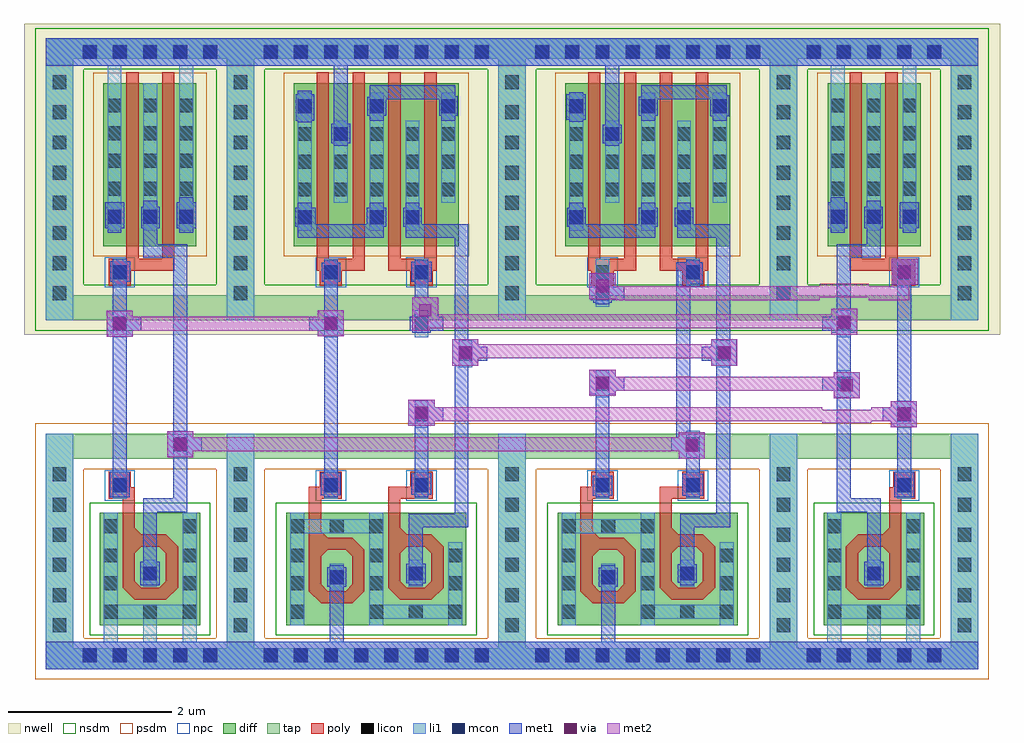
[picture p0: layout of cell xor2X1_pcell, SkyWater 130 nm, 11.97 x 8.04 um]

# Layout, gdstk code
from math import pi, radians
import gdstk
lib = gdstk.Library(unit=1e-6, precision=1e-09)
def R(c, l, rs):  # rectangles x0, y0, x1, y1
    for r in rs: c.add(gdstk.rectangle(r[:2], r[2:], *l))
def A(c, l, x, y, w, h, nx, ny, dx, dy):  # array of equal rectangles
    R(c, l, [(x+i*dx, y+j*dy, x+i*dx+w, y+j*dy+h) for i in range(nx) for j in range(ny)])
def P(c, l, *ps):  # polygons
    for p in ps: c.add(gdstk.Polygon(p, *l))
nwell = (64, 20)
diff = (65, 20)
tap = (65, 44)
poly = (66, 20)
licon = (66, 44)
li1 = (67, 20)
mcon = (67, 44)
met1 = (68, 20)
via = (68, 44)
met2 = (69, 20)
nsdm = (93, 44)
psdm = (94, 20)
npc = (95, 20)

diff_ring_side = lib.new_cell('diff_ring_side')
R(diff_ring_side, nwell, [(-0.435,3.93,0.435,7.75)])
R(diff_ring_side, tap, [(-0.17,-0.17,0.17,2.72), (-0.17,4.11,0.17,7.57)])
A(diff_ring_side, licon, -0.085, 0.285, 0.17, 0.17, 1, 6, 0, 0.37)
A(diff_ring_side, licon, -0.085, 4.355, 0.17, 0.17, 1, 8, 0, 0.37)
R(diff_ring_side, li1, [(-0.17,-0.17,0.17,2.72), (-0.17,4.11,0.17,7.57)])
R(diff_ring_side, met1, [(-0.17,-0.17,0.17,0.17), (-0.17,7.23,0.17,7.57)])
R(diff_ring_side, nsdm, [(-0.295,3.985,0.295,7.695)])
R(diff_ring_side, psdm, [(-0.295,-0.295,0.295,2.845)])

poly_li1_contact = lib.new_cell('poly_li1_contact')
R(poly_li1_contact, poly, [(-0.16,-0.14,0.17,0.13)])
R(poly_li1_contact, licon, [(-0.08,-0.09,0.09,0.08)])
R(poly_li1_contact, li1, [(-0.16,-0.09,0.17,0.08)])
R(poly_li1_contact, npc, [(-0.18,-0.19,0.19,0.18)])

pmos2 = lib.new_cell('pmos2')
R(pmos2, nwell, [(0.26,-2.18,1.76,0.18)])
R(pmos2, diff, [(0.44,-2,1.58,0)])
R(pmos2, poly, [(0.72,-2.305,1.31,-2.155), (0.72,-2.155,0.87,0.13), (1.16,-2.155,1.31,0.13)])
A(pmos2, licon, 0.49, -1.38, 0.17, 0.17, 3, 4, 0.44, 0.34)
R(pmos2, li1, [(0.49,-1.465,0.66,0.21), (0.93,-1.465,1.1,0), (1.37,-1.465,1.54,0.21)])
R(pmos2, psdm, [(0.315,-2.125,1.705,0.125)])

nmos_top = lib.new_cell('nmos_top')
R(nmos_top, diff, [(0,0,1.23,1.38)])
R(nmos_top, poly, [(0.42,0.31,0.8,0.46), (0.27,0.46,0.42,0.965), (0.8,0.46,0.95,0.965), (0.42,0.965,0.95,1.115), (0.8,1.115,0.95,1.54)])
P(nmos_top, poly, [(0.72,1.115),(0.8,1.115),(0.8,1.195)],
  [(0.27,0.965),(0.42,0.965),(0.42,1.115)],
  [(0.42,0.885),(0.42,0.965),(0.5,0.965)],
  [(0.72,0.965),(0.8,0.965),(0.8,0.885)],
  [(0.42,0.54),(0.42,0.46),(0.5,0.46)],
  [(0.72,0.46),(0.8,0.46),(0.8,0.54)],
  [(0.27,0.46),(0.42,0.46),(0.42,0.31)],
  [(0.8,0.31),(0.8,0.46),(0.95,0.46)])
R(nmos_top, licon, [(0.04,0.08,0.21,0.25), (0.53,0.08,0.7,0.25), (1.01,0.08,1.18,0.25), (0.04,0.43,0.21,0.6), (1.01,0.43,1.18,0.6), (0.53,0.55,0.7,0.72), (0.04,0.77,0.21,0.94), (1.01,0.77,1.18,0.94), (0.04,1.13,0.21,1.3), (1.01,1.13,1.18,1.3)])
R(nmos_top, li1, [(0.04,0,0.21,0.08), (1.01,0,1.18,0.08), (0.04,0.08,1.18,0.25), (0.04,0.25,0.21,1.38), (1.01,0.25,1.18,1.38), (0.53,0.47,0.7,0.805)])
R(nmos_top, nsdm, [(-0.125,-0.125,1.355,1.505)])

invx1_pcell = lib.new_cell('invx1_pcell')
R(invx1_pcell, nwell, [(-0.435,3.93,2.655,7.75)])
A(invx1_pcell, diff, 0.59, 5.295, 0.17, 0.17, 3, 1, 0.44, 0)
R(invx1_pcell, tap, [(0.17,-0.17,2.05,0.085), (0.17,2.41,2.05,2.72), (0.17,4.11,2.05,4.42), (0.17,7.315,2.05,7.57)])
R(invx1_pcell, poly, [(0.775,1.905,0.925,2.065)])
A(invx1_pcell, licon, 0.285, -0.085, 0.17, 0.17, 5, 2, 0.37, 7.4)
A(invx1_pcell, licon, 0.59, 5.295, 0.17, 0.17, 3, 1, 0.44, 0)
A(invx1_pcell, li1, 0.59, 5.215, 0.17, 0.37, 3, 1, 0.44, 0)
R(invx1_pcell, li1, [(-0.17,-0.17,2.33,0.17), (0.545,0.17,0.715,0.42), (1.025,0.17,1.195,0.45), (1.515,0.17,1.685,0.45), (1.025,0.92,1.195,1.09), (0.655,2,0.825,2.17), (0.655,4.615,0.825,4.785), (-0.17,7.23,2.39,7.57)])
A(invx1_pcell, mcon, 0.285, -0.085, 0.17, 0.17, 5, 2, 0.37, 7.4)
A(invx1_pcell, mcon, 0.59, 5.295, 0.17, 0.17, 3, 1, 0.44, 0)
R(invx1_pcell, mcon, [(1.025,0.92,1.195,1.09), (0.655,2,0.825,2.17), (0.655,4.615,0.825,4.785)])
R(invx1_pcell, met1, [(-0.17,-0.17,2.39,0.17), (0.99,0.86,1.23,1.15), (1.025,1.15,1.195,1.755), (1.025,1.755,1.565,1.925), (1.395,1.925,1.565,4.875), (0.615,1.94,0.865,2.25), (0.655,2.25,0.825,4.58), (0.62,4.58,0.87,4.83), (0.655,4.83,0.825,4.865), (1.03,4.875,1.565,5.045), (1.03,5.045,1.2,5.24), (0.59,5.185,0.76,5.24), (1.47,5.185,1.64,5.24), (0.56,5.24,0.795,5.555), (1,5.24,1.23,5.505), (1.44,5.24,1.675,5.555), (1.03,5.505,1.2,5.575), (1.47,5.555,1.64,5.62), (-0.17,7.23,2.39,7.57)])
R(invx1_pcell, nsdm, [(0.045,3.985,2.175,4.545), (0.045,7.19,2.175,7.695)])
R(invx1_pcell, psdm, [(0.045,-0.295,2.175,0.21), (0.045,2.285,2.175,2.845), (0.465,5.17,1.765,5.59)])
invx1_pcell.add(gdstk.Reference(poly_li1_contact, (0.735,2.08), rotation=pi/2))
invx1_pcell.add(gdstk.Reference(poly_li1_contact, (0.745,4.705), rotation=3*pi/2))
invx1_pcell.add(gdstk.Reference(pmos2, (0.1,7.02)))
invx1_pcell.add(gdstk.Reference(nmos_top, (1.725,0.37), rotation=pi, x_reflection=True))
invx1_pcell.add(gdstk.Reference(diff_ring_side, (0,0)))
invx1_pcell.add(gdstk.Reference(diff_ring_side, (2.22,0)))

li1_m1_contact = lib.new_cell('li1_M1_contact')
R(li1_m1_contact, li1, [(-0.085,-0.165,0.085,0.165)])
R(li1_m1_contact, mcon, [(-0.085,-0.085,0.085,0.085)])
R(li1_m1_contact, met1, [(-0.115,-0.115,0.115,-0.085), (-0.265,-0.085,0.145,0.085), (-0.115,0.085,0.115,0.115)])

pmos2_1 = lib.new_cell('pmos2_1')
R(pmos2_1, nwell, [(0.26,-2.175,1.76,0.185)])
R(pmos2_1, diff, [(0.44,-1.995,1.58,0.005)])
R(pmos2_1, poly, [(0.72,-2.3,1.31,-2.15), (0.72,-2.15,0.87,0.135), (1.16,-2.15,1.31,0.135)])
A(pmos2_1, licon, 0.49, -1.385, 0.17, 0.17, 3, 3, 0.44, 0.34)
A(pmos2_1, li1, 0.49, -1.465, 0.17, 1.01, 3, 1, 0.44, 0)
R(pmos2_1, psdm, [(0.315,-2.12,1.705,0.13)])

nmos_top_trim1 = lib.new_cell('nmos_top_trim1')
R(nmos_top_trim1, diff, [(0,0,1.24,1.38)])
R(nmos_top_trim1, poly, [(0.43,0.31,0.81,0.46), (0.28,0.46,0.43,0.965), (0.81,0.46,0.96,0.965), (0.43,0.965,0.96,1.115), (0.81,1.115,0.96,1.545)])
P(nmos_top_trim1, poly, [(0.73,1.115),(0.81,1.115),(0.81,1.195)],
  [(0.28,0.965),(0.43,0.965),(0.43,1.115)],
  [(0.43,0.885),(0.43,0.965),(0.51,0.965)],
  [(0.73,0.965),(0.81,0.965),(0.81,0.885)],
  [(0.43,0.54),(0.43,0.46),(0.51,0.46)],
  [(0.73,0.46),(0.81,0.46),(0.81,0.54)],
  [(0.28,0.46),(0.43,0.46),(0.43,0.31)],
  [(0.81,0.31),(0.81,0.46),(0.96,0.46)])
A(nmos_top_trim1, licon, 0.05, 0.08, 0.17, 0.17, 3, 1, 0.485, 0)
R(nmos_top_trim1, licon, [(0.05,0.43,0.22,0.6), (1.02,0.43,1.19,0.6), (0.535,0.55,0.705,0.72), (0.05,0.77,0.22,0.94), (1.02,0.77,1.19,0.94), (1.02,1.13,1.19,1.3)])
R(nmos_top_trim1, li1, [(0.05,0,0.22,0.08), (1.02,0,1.19,0.08), (0.05,0.08,1.19,0.25), (0.05,0.25,0.22,1.02), (1.02,0.25,1.19,1.38), (0.535,0.47,0.705,0.805)])
R(nmos_top_trim1, nsdm, [(-0.125,-0.125,1.365,1.505)])

nmos_bottom = lib.new_cell('nmos_bottom')
R(nmos_bottom, diff, [(0,0,1.24,1.38)])
R(nmos_bottom, poly, [(0.43,0.27,0.81,0.42), (0.28,0.42,0.43,0.925), (0.81,0.42,0.96,0.925), (0.43,0.925,0.96,1.075), (0.81,1.075,0.96,1.51)])
P(nmos_bottom, poly, [(0.73,1.075),(0.81,1.075),(0.81,1.155)],
  [(0.28,0.925),(0.43,0.925),(0.43,1.075)],
  [(0.43,0.845),(0.43,0.925),(0.51,0.925)],
  [(0.73,0.925),(0.81,0.925),(0.81,0.845)],
  [(0.43,0.5),(0.43,0.42),(0.51,0.42)],
  [(0.73,0.42),(0.81,0.42),(0.81,0.5)],
  [(0.28,0.42),(0.43,0.42),(0.43,0.27)],
  [(0.81,0.27),(0.81,0.42),(0.96,0.42)])
A(nmos_bottom, licon, 0.05, 1.13, 0.17, 0.17, 3, 1, 0.485, 0)
R(nmos_bottom, licon, [(0.05,0.08,0.22,0.25), (1.02,0.08,1.19,0.25), (0.05,0.43,0.22,0.6), (1.02,0.43,1.19,0.6), (0.535,0.505,0.705,0.675), (0.05,0.77,0.22,0.94), (1.02,0.77,1.19,0.94)])
R(nmos_bottom, li1, [(0.05,0,0.22,1.13), (1.02,0,1.19,1.13), (0.535,0.425,0.705,0.755), (0.05,1.13,1.19,1.3), (0.05,1.3,0.22,1.38), (1.02,1.3,1.19,1.38)])
R(nmos_bottom, nsdm, [(-0.125,-0.125,1.365,1.505)])

xor2x1_pcell = lib.new_cell('xor2X1_pcell')
R(xor2x1_pcell, nwell, [(2.655,3.93,8.445,4.125), (2.64,4.125,5.13,4.84), (5.97,4.125,8.46,4.84), (10.21,4.525,10.275,4.565), (2.64,4.84,2.695,7.195), (5.075,4.84,5.13,7.195), (5.97,4.84,6.025,7.2), (8.405,4.84,8.46,7.2), (2.925,6.65,3.095,6.82), (2.64,7.195,5.13,7.23), (5.97,7.2,8.46,7.23), (2.39,7.23,5.38,7.245), (5.72,7.23,8.71,7.245), (2.39,7.245,5.395,7.315), (5.705,7.245,8.71,7.315), (2.39,7.315,8.71,7.57), (2.64,7.57,5.13,7.66), (5.97,7.57,8.46,7.66), (2.655,7.66,8.445,7.75)])
A(xor2x1_pcell, diff, 2.925, 6.65, 0.17, 0.17, 3, 1, 0.88, 0)
A(xor2x1_pcell, diff, 6.255, 6.65, 0.17, 0.17, 3, 1, 0.88, 0)
R(xor2x1_pcell, diff, [(2.925,5.29,3.095,5.46), (3.805,5.29,3.975,5.46), (4.245,5.29,4.415,5.46), (6.255,5.29,6.425,5.46), (7.135,5.29,7.305,5.46), (7.575,5.29,7.745,5.46)])
R(xor2x1_pcell, tap, [(2.39,-0.17,5.38,-0.085), (5.72,-0.17,8.71,-0.085), (2.39,-0.085,5.395,0.085), (5.705,-0.085,8.71,0.085), (2.39,2.41,5.395,2.72), (5.705,2.41,8.71,2.72), (2.39,4.11,5.395,4.42), (5.705,4.11,8.71,4.42), (2.39,7.315,8.71,7.57)])
R(xor2x1_pcell, poly, [(3.06,1.88,3.21,1.92), (6.39,1.88,6.54,1.92), (4.03,1.915,4.18,1.92), (7.36,1.915,7.51,1.92), (3.06,1.92,3.195,2.07), (4.03,1.92,4.305,2.07), (6.39,1.92,6.525,2.07), (7.36,1.92,7.635,2.07)])
A(xor2x1_pcell, licon, 2.505, -0.085, 0.17, 0.17, 8, 2, 0.37, 7.4)
A(xor2x1_pcell, licon, 5.835, -0.085, 0.17, 0.17, 8, 2, 0.37, 7.4)
A(xor2x1_pcell, licon, 2.925, 6.65, 0.17, 0.17, 3, 1, 0.88, 0)
A(xor2x1_pcell, licon, 6.255, 6.65, 0.17, 0.17, 3, 1, 0.88, 0)
R(xor2x1_pcell, licon, [(2.925,5.29,3.095,5.46), (3.805,5.29,3.975,5.46), (4.245,5.29,4.415,5.46), (6.255,5.29,6.425,5.46), (7.135,5.29,7.305,5.46), (7.575,5.29,7.745,5.46)])
A(xor2x1_pcell, li1, 2.925, 6.56, 0.17, 0.34, 3, 1, 0.88, 0)
A(xor2x1_pcell, li1, 6.255, 6.56, 0.17, 0.34, 3, 1, 0.88, 0)
R(xor2x1_pcell, li1, [(2.375,-0.17,9.075,0.17), (3.315,0.875,3.485,1.045), (6.645,0.875,6.815,1.045), (4.285,0.92,4.455,1.09), (7.615,0.92,7.785,1.09), (3.245,2,3.415,2.17), (4.355,2,4.525,2.17), (6.575,2,6.745,2.17), (7.685,2,7.855,2.17), (0.655,4.615,0.825,4.785), (3.245,4.615,3.415,4.785), (4.355,4.615,4.525,4.785), (7.685,4.615,7.855,4.785), (2.925,5.21,3.095,5.63), (3.805,5.21,3.975,5.565), (4.245,5.21,4.415,5.575), (6.255,5.21,6.425,5.605), (7.135,5.21,7.305,5.59), (7.575,5.21,7.745,5.6), (3.365,6.31,3.535,6.48), (6.695,6.31,6.865,6.48), (2.39,7.23,8.845,7.57)])
A(xor2x1_pcell, mcon, 2.505, -0.085, 0.17, 0.17, 8, 2, 0.37, 7.4)
A(xor2x1_pcell, mcon, 5.835, -0.085, 0.17, 0.17, 8, 2, 0.37, 7.4)
A(xor2x1_pcell, mcon, 2.925, 6.65, 0.17, 0.17, 3, 1, 0.88, 0)
A(xor2x1_pcell, mcon, 6.255, 6.65, 0.17, 0.17, 3, 1, 0.88, 0)
R(xor2x1_pcell, mcon, [(3.315,0.875,3.485,1.045), (6.645,0.875,6.815,1.045), (4.285,0.92,4.455,1.09), (7.615,0.92,7.785,1.09), (3.245,2,3.415,2.17), (4.355,2,4.525,2.17), (6.575,2,6.745,2.17), (7.685,2,7.855,2.17), (0.655,4.615,0.825,4.785), (3.245,4.615,3.415,4.785), (4.355,4.615,4.525,4.785), (7.685,4.615,7.855,4.785), (2.925,5.29,3.095,5.46), (3.805,5.29,3.975,5.46), (4.245,5.29,4.415,5.46), (6.255,5.29,6.425,5.46), (7.135,5.29,7.305,5.46), (7.575,5.29,7.745,5.46), (3.365,6.31,3.535,6.48), (6.695,6.31,6.865,6.48)])
R(xor2x1_pcell, met1, [(2.39,-0.17,5.38,-0.14), (5.72,-0.17,8.71,-0.14), (2.39,-0.14,5.395,0.17), (5.705,-0.14,8.71,0.17), (3.315,0.17,3.485,0.845), (6.645,0.17,6.815,0.845), (3.285,0.845,3.52,1.08), (6.615,0.845,6.845,1.075), (4.285,0.86,4.455,0.885), (7.615,0.86,7.785,0.89), (4.255,0.885,4.49,1.125), (7.585,0.89,7.815,1.12), (6.645,1.075,6.815,1.105), (3.315,1.08,3.485,1.105), (7.615,1.12,7.785,1.57), (4.285,1.125,4.455,1.57), (4.285,1.57,5.015,1.74), (7.615,1.57,8.225,1.74), (4.845,1.74,5.015,3.555), (8.055,1.74,8.225,3.555), (3.245,1.94,3.415,1.965), (4.355,1.94,4.525,1.97), (6.575,1.94,6.745,1.96), (7.685,1.94,7.855,1.96), (6.54,1.96,6.78,2.205), (7.64,1.96,7.895,2.23), (3.205,1.965,3.45,2.24), (4.315,1.97,4.56,2.235), (6.575,2.205,6.745,3.205), (7.685,2.23,7.855,2.415), (4.355,2.235,4.525,2.815), (3.245,2.24,3.415,3.915), (7.595,2.415,7.915,2.64), (1.32,2.43,1.64,2.75), (7.565,2.64,7.915,2.735), (9.535,2.69,9.705,3.155), (7.565,2.735,7.735,4.55), (10.195,2.8,10.515,3.12), (4.28,2.815,4.6,2.875), (4.28,2.875,4.57,3.045), (4.28,3.045,4.6,3.135), (9.495,3.155,9.815,3.475), (6.5,3.205,6.82,3.505), (9.535,3.475,9.705,3.96), (4.845,3.555,5.135,3.585), (7.995,3.555,8.305,3.875), (4.815,3.585,5.135,3.875), (0.655,3.62,0.825,3.91), (4.845,3.875,5.015,5.12), (8.055,3.875,8.225,5.12), (0.58,3.91,0.9,4.23), (3.165,3.915,3.485,4.235), (9.465,3.96,9.785,4.25), (4.325,4.075,4.645,4.395), (0.655,4.23,0.825,4.585), (3.245,4.235,3.415,4.585), (9.535,4.25,9.705,4.355), (6.575,4.31,6.745,4.37), (6.5,4.37,6.82,4.69), (4.355,4.395,4.525,4.585), (10.21,4.545,10.53,4.865), (7.565,4.55,7.89,4.82), (0.62,4.585,0.86,4.835), (3.215,4.585,3.445,4.815), (4.315,4.585,4.565,4.83), (3.245,4.815,3.415,4.845), (7.685,4.82,7.855,4.845), (4.355,4.83,4.525,4.845), (0.655,4.835,0.825,4.845), (2.925,5.12,3.975,5.255), (4.245,5.12,5.015,5.26), (6.255,5.12,7.305,5.26), (7.575,5.12,8.225,5.26), (2.89,5.255,4.01,5.29), (4.215,5.26,5.015,5.29), (6.225,5.26,7.335,5.29), (7.545,5.26,8.225,5.29), (2.89,5.29,3.145,5.49), (3.77,5.29,4.01,5.49), (4.215,5.29,4.445,5.49), (6.225,5.29,6.455,5.49), (7.105,5.29,7.335,5.49), (7.545,5.29,7.775,5.49), (2.925,5.49,3.095,5.55), (3.805,5.49,3.975,5.55), (4.245,5.49,4.415,5.55), (6.255,5.49,6.425,5.55), (7.135,5.49,7.305,5.55), (7.575,5.49,7.745,5.55), (3.365,6.25,3.535,6.28), (6.695,6.25,6.865,6.28), (3.335,6.28,3.565,6.52), (6.665,6.28,6.895,6.51), (6.695,6.51,6.865,7.23), (3.365,6.52,3.535,7.23), (2.925,6.54,3.095,6.56), (6.255,6.545,6.425,6.57), (2.895,6.56,3.125,6.885), (3.805,6.56,3.975,6.62), (4.685,6.56,4.855,6.62), (7.135,6.56,7.305,6.62), (8.015,6.56,8.185,6.615), (6.215,6.57,6.455,6.88), (7.98,6.615,8.215,6.82), (3.775,6.62,4.005,6.82), (4.655,6.62,4.885,6.82), (7.105,6.62,7.335,6.82), (3.775,6.82,4.885,6.85), (7.105,6.82,8.215,6.85), (3.805,6.85,4.885,6.855), (7.135,6.85,8.215,6.87), (3.805,6.855,4.855,6.99), (7.135,6.87,8.185,6.99), (6.255,6.88,6.425,6.91), (2.925,6.885,3.095,6.925), (2.39,7.23,5.38,7.245), (5.72,7.23,8.71,7.245), (2.39,7.245,5.395,7.315), (5.705,7.245,8.71,7.315), (2.39,7.315,8.71,7.57)])
R(xor2x1_pcell, via, [(7.68,2.5,7.83,2.65), (1.405,2.515,1.555,2.665), (10.28,2.885,10.43,3.035), (4.365,2.9,4.515,3.05), (9.58,3.24,9.73,3.39), (6.585,3.27,6.735,3.42), (4.9,3.64,5.05,3.79), (8.08,3.64,8.23,3.79), (0.665,3.995,0.815,4.145), (3.25,4,3.4,4.15), (9.55,4.015,9.7,4.165), (4.41,4.16,4.56,4.31), (6.585,4.455,6.735,4.605), (10.295,4.63,10.445,4.78)])
R(xor2x1_pcell, met2, [(7.595,2.415,7.915,2.505), (1.32,2.43,1.64,2.505), (1.32,2.505,7.915,2.675), (1.32,2.675,1.64,2.75), (7.595,2.675,7.915,2.735), (10.195,2.8,10.515,2.875), (4.28,2.815,4.6,2.875), (9.355,2.845,9.955,2.875), (4.28,2.875,10.515,3.015), (4.28,3.015,9.355,3.045), (9.955,3.015,10.515,3.045), (4.28,3.045,4.6,3.135), (10.195,3.045,10.515,3.12), (9.495,3.155,9.815,3.245), (6.5,3.185,6.82,3.245), (6.5,3.245,9.815,3.415), (6.5,3.415,6.82,3.505), (9.495,3.415,9.815,3.475), (4.815,3.555,5.135,3.645), (7.995,3.555,8.315,3.645), (4.815,3.645,8.315,3.815), (4.815,3.815,5.135,3.875), (7.995,3.815,8.315,3.875), (0.58,3.91,0.9,3.985), (3.165,3.915,3.485,3.985), (9.465,3.93,9.785,4.015), (0.58,3.985,3.485,4.155), (4.325,3.985,4.54,4.015), (4.325,4.015,9.785,4.185), (0.58,4.155,0.9,4.23), (3.165,4.155,3.485,4.235), (4.325,4.185,4.645,4.395), (9.465,4.185,9.785,4.25), (6.82,4.355,9.325,4.37), (9.925,4.355,10.425,4.39), (6.5,4.37,9.325,4.39), (6.5,4.39,10.425,4.525), (6.5,4.525,6.82,4.69), (9.185,4.525,10.065,4.53), (10.21,4.525,10.425,4.545), (9.325,4.53,9.925,4.56), (10.21,4.545,10.53,4.865)])
R(xor2x1_pcell, nsdm, [(2.265,3.985,8.835,4.545), (2.265,7.19,8.835,7.695)])
A(xor2x1_pcell, psdm, 2.8, 6.525, 0.42, 0.42, 3, 1, 0.88, 0)
A(xor2x1_pcell, psdm, 6.13, 6.525, 0.42, 0.42, 3, 1, 0.88, 0)
R(xor2x1_pcell, psdm, [(2.265,-0.295,8.835,0.21), (2.265,2.285,8.835,2.845), (2.8,5.165,3.22,5.585), (3.68,5.165,4.54,5.585), (6.13,5.165,6.55,5.585), (7.01,5.165,7.87,5.585)])
xor2x1_pcell.add(gdstk.Reference(diff_ring_side, (2.22,0)))
xor2x1_pcell.add(gdstk.Reference(invx1_pcell, (0,0)))
xor2x1_pcell.add(gdstk.Reference(li1_m1_contact, (0.74,4.07), rotation=pi))
xor2x1_pcell.add(gdstk.Reference(li1_m1_contact, (1.48,2.59), rotation=pi))
xor2x1_pcell.add(gdstk.Reference(poly_li1_contact, (3.335,2.09), rotation=3*pi/2))
xor2x1_pcell.add(gdstk.Reference(poly_li1_contact, (3.335,4.705), rotation=3*pi/2))
xor2x1_pcell.add(gdstk.Reference(pmos2_1, (3.315,7.015)))
xor2x1_pcell.add(gdstk.Reference(pmos2_1, (2.435,7.015)))
xor2x1_pcell.add(gdstk.Reference(nmos_top_trim1, (4.99,0.37), rotation=pi, x_reflection=True))
xor2x1_pcell.add(gdstk.Reference(nmos_bottom, (4.02,0.37), rotation=pi, x_reflection=True))
xor2x1_pcell.add(gdstk.Reference(li1_m1_contact, (3.33,4.07)))
xor2x1_pcell.add(gdstk.Reference(poly_li1_contact, (4.445,4.705), rotation=3*pi/2))
xor2x1_pcell.add(gdstk.Reference(poly_li1_contact, (4.445,2.09), rotation=3*pi/2))
xor2x1_pcell.add(gdstk.Reference(li1_m1_contact, (4.44,2.96), rotation=pi))
xor2x1_pcell.add(gdstk.Reference(li1_m1_contact, (4.98,3.7), rotation=pi))
xor2x1_pcell.add(gdstk.Reference(li1_m1_contact, (4.44,4.07), rotation=pi))
xor2x1_pcell.add(gdstk.Reference(diff_ring_side, (5.55,0)))
xor2x1_pcell.add(gdstk.Reference(poly_li1_contact, (6.665,4.705), rotation=3*pi/2))
xor2x1_pcell.add(gdstk.Reference(poly_li1_contact, (6.665,2.09), rotation=3*pi/2))
xor2x1_pcell.add(gdstk.Reference(pmos2_1, (6.645,7.015)))
xor2x1_pcell.add(gdstk.Reference(pmos2_1, (5.765,7.015)))
xor2x1_pcell.add(gdstk.Reference(nmos_top_trim1, (8.32,0.37), rotation=pi, x_reflection=True))
xor2x1_pcell.add(gdstk.Reference(nmos_bottom, (7.35,0.37), rotation=pi, x_reflection=True))
xor2x1_pcell.add(gdstk.Reference(li1_m1_contact, (6.66,3.33), rotation=pi))
xor2x1_pcell.add(gdstk.Reference(li1_m1_contact, (6.66,4.44), rotation=pi))
xor2x1_pcell.add(gdstk.Reference(poly_li1_contact, (7.775,4.705), rotation=3*pi/2))
xor2x1_pcell.add(gdstk.Reference(poly_li1_contact, (7.775,2.09), rotation=3*pi/2))
xor2x1_pcell.add(gdstk.Reference(li1_m1_contact, (8.14,3.7)))
xor2x1_pcell.add(gdstk.Reference(li1_m1_contact, (7.77,2.59)))
xor2x1_pcell.add(gdstk.Reference(diff_ring_side, (8.88,0)))
xor2x1_pcell.add(gdstk.Reference(invx1_pcell, (11.1,0), rotation=pi, x_reflection=True))
xor2x1_pcell.add(gdstk.Reference(li1_m1_contact, (10.36,2.96)))
xor2x1_pcell.add(gdstk.Reference(li1_m1_contact, (9.62,4.07)))
xor2x1_pcell.add(gdstk.Reference(li1_m1_contact, (9.62,3.33)))

lib.write_gds('xor2X1_pcell.gds')
